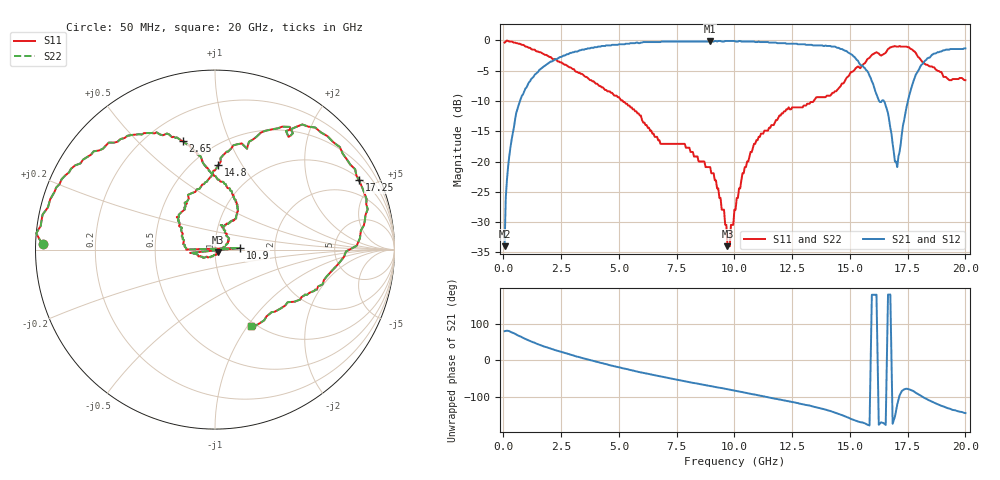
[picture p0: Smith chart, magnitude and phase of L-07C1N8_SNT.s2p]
#	mhz	s	ma	r	50
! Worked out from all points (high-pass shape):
!   400 points, 50 MHz to 20 GHz, reference 50 ohm
!   highest |S21| = -0.09 dB at 8.95 GHz (marker M1); lowest = -34.0 dB at 50 MHz (marker M2)
!   |S21| within 3 dB of the highest: 2.304 GHz to 15.27 GHz (12.97 GHz wide, 148 % of centre); 18.33 GHz to end of sweep
!   lowest |S11| = -34.0 dB at 9.7 GHz (marker M3), VSWR 1.04, Z = 51.6 - j1.31 ohm
!   |S11| at or under -10 dB: 5.169 GHz to 13.43 GHz (8.263 GHz wide, 88.8 % of centre)
!   |S22| runs from -34.0 to 0.0 dB; largest |S21 - S12| = 0
!   S11 on the Smith chart (normalised r, x): 50 MHz: 0.02, +0.01; 2.65 GHz: 0.34, +0.69; 10.9 GHz: 1.32, +0.02; 14.8 GHz: 0.66, +0.79; 17.25 GHz: 1.10, +4.09; 20 GHz: 0.94, -1.03
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50  0.96 178.3  0.02 79.3  0.02 79.3  0.96 178.3
650  0.94 157.2  0.29 66.9  0.29 66.9  0.94 157.2
2650  0.63 106.7  0.75 19.8  0.75 19.8  0.63 106.7
3400  0.53 99.1  0.84 6.1  0.84 6.1  0.53 99.1
6700  0.15 66.5  0.97 -43.1  0.97 -43.1  0.15 66.5
8950  0.09 31.6  0.99 -70.5  0.99 -70.5  0.09 31.6
9700  0.02 -39.3  0.99 -79.5  0.99 -79.5  0.02 -39.3
10050  0.04 -117.1  0.98 -83.6  0.98 -83.6  0.04 -117.1
10900  0.14 3.7  0.97 -94.3  0.97 -94.3  0.14 3.7
13350  0.31 123.1  0.92 -126.0  0.92 -126.0  0.31 123.1
14800  0.47 87.8  0.82 -153.9  0.82 -153.9  0.47 87.8
15850  0.72 66.9  0.51 -178.4  0.51 -178.4  0.72 66.9
15900  0.74 64.8  0.49 0.1  0.49 0.1  0.74 64.8
15950  0.76 62.7  0.46 178.7  0.46 178.7  0.76 62.7
16150  0.8 58.7  0.36 179.1  0.36 179.1  0.8 58.7
16200  0.79 57.5  0.34 1.4  0.34 1.4  0.79 57.5
16250  0.78 56.2  0.32 -176.4  0.32 -176.4  0.78 56.2
16550  0.79 57.9  0.29 -176.8  0.29 -176.8  0.79 57.9
16600  0.82 56.5  0.27 1.3  0.27 1.3  0.82 56.5
16700  0.86 52.8  0.22 179.4  0.22 179.4  0.86 52.8
17250  0.89 25.8  0.17 -84.0  0.17 -84.0  0.89 25.8
20000  0.47 -65.1  0.86 -144.6  0.86 -144.6  0.47 -65.1
